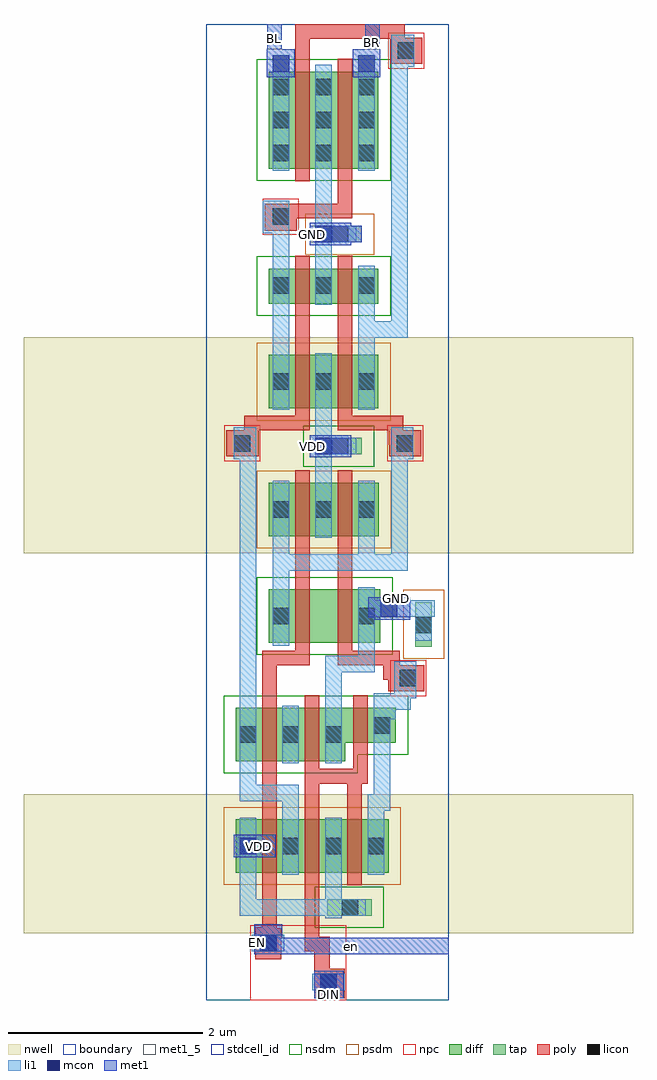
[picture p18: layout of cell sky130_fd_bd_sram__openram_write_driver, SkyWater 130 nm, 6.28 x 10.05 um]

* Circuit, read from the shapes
.subckt sky130_fd_bd_sram__openram_write_driver BL BR DIN EN GND VDD
XM1 n1 EN n2 GND sky130_fd_pr__nfet_01v8 w=0.55 l=0.15
XM2 n3 EN n4 GND sky130_fd_pr__nfet_01v8 w=0.55 l=0.15
XM3 GND n2 n5 GND sky130_fd_pr__nfet_01v8 w=0.36 l=0.15
XM4 GND n6 BL GND sky130_fd_pr__nfet_01v8 w=1 l=0.15
XM5 GND DIN n1 GND sky130_fd_pr__nfet_01v8 w=0.55 l=0.15
XM6 GND n7 n3 GND sky130_fd_pr__nfet_01v8 w=0.55 l=0.15
XM7 n6 n4 GND GND sky130_fd_pr__nfet_01v8 w=0.36 l=0.15
XM8 BR n5 GND GND sky130_fd_pr__nfet_01v8 w=1 l=0.15
XM9 n7 DIN GND GND sky130_fd_pr__nfet_01v8 w=0.36 l=0.15
XM10 n2 EN VDD VDD sky130_fd_pr__pfet_01v8 w=0.55 l=0.15
XM11 VDD EN n4 VDD sky130_fd_pr__pfet_01v8 w=0.55 l=0.15
XM12 VDD n2 n5 VDD sky130_fd_pr__pfet_01v8 w=0.55 l=0.15
XM13 VDD DIN n2 VDD sky130_fd_pr__pfet_01v8 w=0.55 l=0.15
XM14 n4 n7 VDD VDD sky130_fd_pr__pfet_01v8 w=0.55 l=0.15
XM15 n6 n4 VDD VDD sky130_fd_pr__pfet_01v8 w=0.55 l=0.15
XM16 n7 DIN VDD VDD sky130_fd_pr__pfet_01v8 w=0.55 l=0.15
.ends

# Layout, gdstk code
import gdstk
lib = gdstk.Library(unit=1e-6, precision=1e-09)
def R(c, l, rs):  # rectangles x0, y0, x1, y1
    for r in rs: c.add(gdstk.rectangle(r[:2], r[2:], *l))
def A(c, l, x, y, w, h, nx, ny, dx, dy):  # array of equal rectangles
    R(c, l, [(x+i*dx, y+j*dy, x+i*dx+w, y+j*dy+h) for i in range(nx) for j in range(ny)])
nwell = (64, 20)
diff = (65, 20)
tap = (65, 44)
poly = (66, 20)
licon = (66, 44)
li1 = (67, 20)
mcon = (67, 44)
met1_5 = (68, 5)
met1 = (68, 20)
stdcell_id = (81, 4)
nsdm = (93, 44)
psdm = (94, 20)
npc = (95, 20)
boundary = (235, 4)

sky130_fd_bd_sram__openr = lib.new_cell('sky130_fd_bd_sram__openram_write_driver')
R(sky130_fd_bd_sram__openr, nwell, [(-1.88,0.69,4.4,2.12), (-1.88,4.6,4.4,6.83)])
R(sky130_fd_bd_sram__openr, diff, [(0.305,1.31,1.88,1.86), (0.305,2.46,1.435,2.65), (0.305,2.65,1.955,3.01), (0.645,3.68,1.795,4.23), (0.645,4.78,1.78,5.33), (0.645,6.095,1.775,6.645), (0.645,7.175,1.775,7.535), (0.645,8.565,1.775,9.565)])
R(sky130_fd_bd_sram__openr, tap, [(1.245,0.87,1.705,1.04), (2.155,3.64,2.325,4.1), (1.125,5.62,1.605,5.79), (1.145,7.805,1.605,7.975)])
R(sky130_fd_bd_sram__openr, poly, [(1.115,0.02,1.425,0.32), (1.115,0.32,1.275,0.5), (0.505,0.42,0.775,0.74), (1.015,0.5,1.275,0.65), (1.015,0.65,1.165,2.23), (0.505,0.74,0.725,0.75), (0.575,0.75,0.725,3.45), (1.455,1.18,1.605,2.23), (1.015,2.23,1.665,2.38), (1.015,2.38,1.165,3.14), (1.515,2.38,1.665,3.14), (1.875,3.18,2.245,3.3), (1.825,3.3,2.245,3.45), (0.575,3.45,1.065,3.6), (1.355,3.45,1.995,3.6), (0.915,3.6,1.065,5.46), (1.355,3.6,1.505,5.46), (0.205,5.6,0.54,5.87), (1.885,5.6,2.215,5.72), (1.88,5.72,2.215,5.87), (0.39,5.87,1.065,6.02), (1.355,5.87,2.03,6.02), (0.915,6.02,1.065,7.665), (1.355,6.02,1.505,7.665), (0.605,7.925,0.935,8.055), (0.605,8.055,1.505,8.205), (1.355,8.205,1.505,9.695), (0.915,8.435,1.065,9.905), (1.895,9.645,2.225,9.905), (0.915,9.905,2.225,9.915), (0.915,9.915,2.045,10.055)])
A(sky130_fd_bd_sram__openr, licon, 0.345, 1.5, 0.17, 0.17, 4, 1, 0.44, 0)
A(sky130_fd_bd_sram__openr, licon, 0.345, 2.65, 0.17, 0.17, 3, 1, 0.44, 0)
A(sky130_fd_bd_sram__openr, licon, 0.685, 4.97, 0.17, 0.17, 3, 2, 0.44, 1.315)
A(sky130_fd_bd_sram__openr, licon, 0.685, 7.275, 0.17, 0.17, 3, 2, 0.44, 1.365)
A(sky130_fd_bd_sram__openr, licon, 0.685, 8.98, 0.17, 0.17, 3, 2, 0.44, 0.34)
R(sky130_fd_bd_sram__openr, licon, [(1.175,0.1,1.345,0.27), (0.555,0.5,0.725,0.67), (1.395,0.87,1.565,1.04), (1.725,2.745,1.895,2.915), (1.995,3.23,2.165,3.4), (2.155,3.78,2.325,3.95), (0.685,3.87,0.855,4.04), (1.565,3.87,1.735,4.04), (1.295,5.62,1.465,5.79), (0.285,5.65,0.455,5.82), (1.965,5.65,2.135,5.82), (1.295,7.805,1.465,7.975), (0.685,7.985,0.855,8.155), (1.975,9.695,2.145,9.865)])
R(sky130_fd_bd_sram__openr, li1, [(1.095,0.1,1.425,0.27), (0.47,0.5,0.805,0.67), (1.225,0.84,1.395,0.87), (0.345,0.87,1.645,1.04), (0.345,1.04,0.515,1.88), (1.225,1.04,1.395,1.88), (0.785,1.29,0.955,2.05), (1.665,1.29,1.835,1.95), (1.665,1.95,1.895,2.12), (0.345,2.05,0.955,2.22), (1.725,2.12,1.895,2.89), (0.345,2.22,0.515,5.57), (0.785,2.44,0.955,3.03), (1.225,2.44,1.395,3.4), (1.725,2.89,1.955,2.99), (1.725,2.99,2.105,3.11), (1.725,3.11,2.165,3.16), (1.935,3.16,2.165,3.49), (1.225,3.375,1.735,3.545), (1.565,3.4,1.735,3.95), (0.685,3.65,0.855,4.42), (2.155,3.7,2.325,3.95), (1.565,3.95,2.355,4.12), (1.565,4.12,1.735,4.25), (0.685,4.42,2.075,4.59), (0.685,4.59,0.855,5.35), (1.565,4.59,1.735,5.35), (1.905,4.59,2.075,5.57), (1.125,4.76,1.295,5.62), (0.285,5.57,0.515,5.9), (1.905,5.57,2.135,5.9), (1.125,5.62,1.545,5.79), (1.125,5.79,1.295,6.665), (0.685,6.08,0.855,7.9), (1.565,6.08,1.735,6.825), (1.565,6.825,2.075,6.995), (1.565,6.995,1.735,7.565), (1.905,6.995,2.075,9.615), (1.125,7.165,1.295,7.805), (1.125,7.805,1.545,7.975), (0.585,7.9,0.855,8.235), (1.125,7.975,1.295,9.635), (0.685,8.545,0.855,9.735), (1.565,8.545,1.735,9.735), (1.905,9.615,2.145,9.945)])
R(sky130_fd_bd_sram__openr, mcon, [(1.175,0.1,1.345,0.27), (0.555,0.5,0.725,0.67), (0.345,1.5,0.515,1.67), (1.8,3.95,1.97,4.12), (1.125,5.62,1.295,5.79), (1.125,7.805,1.295,7.975), (0.685,9.565,0.855,9.735), (1.565,9.565,1.735,9.735)])
R(sky130_fd_bd_sram__openr, met1_5, [(1.115,0.02,1.415,0.3), (0.495,0.47,2.5,0.64), (0.285,1.47,0.715,1.7), (1.67,3.945,2.1,4.15), (1.065,5.59,1.495,5.82), (1.065,7.805,1.605,7.975), (0.63,9.795,0.78,10.055), (1.64,9.795,1.79,10.055)])
R(sky130_fd_bd_sram__openr, met1, [(1.115,0.02,1.415,0.3), (1.115,0.02,1.415,0.3), (0.495,0.47,2.5,0.64), (0.495,0.47,2.5,0.64), (0.495,0.64,0.785,0.78), (0.285,1.47,0.715,1.7), (0.285,1.47,0.715,1.7), (1.735,3.92,2.1,3.945), (1.67,3.945,2.1,4.15), (1.67,3.945,2.1,4.15), (1.065,5.59,1.495,5.82), (1.065,5.59,1.495,5.82), (1.065,7.775,1.495,7.805), (1.065,7.805,1.605,7.975), (1.065,7.805,1.605,7.975), (1.065,7.975,1.495,8.005), (0.625,9.505,0.91,9.795), (1.51,9.505,1.795,9.795), (0.63,9.795,0.78,10.055), (0.63,9.795,0.78,10.055), (1.64,9.795,1.79,10.055), (1.64,9.795,1.79,10.055)])
R(sky130_fd_bd_sram__openr, stdcell_id, [(0,0,2.5,10.055)])
R(sky130_fd_bd_sram__openr, nsdm, [(1.12,0.745,1.83,1.165), (0.18,2.335,1.56,2.525), (0.18,2.525,2.08,3.135), (0.52,3.555,1.92,4.355), (1,5.495,1.73,5.915), (0.52,7.05,1.9,7.66), (0.52,8.44,1.9,9.69)])
R(sky130_fd_bd_sram__openr, psdm, [(0.18,1.185,2.005,1.985), (2.03,3.515,2.45,4.225), (0.52,4.655,1.905,5.455), (0.52,5.97,1.9,6.77), (1.02,7.68,1.73,8.1)])
R(sky130_fd_bd_sram__openr, npc, [(0.455,0,1.445,0.77), (1.895,3.13,2.265,3.5), (0.185,5.55,0.555,5.92), (1.865,5.55,2.235,5.92), (0.585,7.885,0.955,8.255), (1.875,9.595,2.245,9.965)])
R(sky130_fd_bd_sram__openr, boundary, [(0,0,2.5,10.055)])
sky130_fd_bd_sram__openr.add(gdstk.Label('DIN', (1.265,0.06), layer=68, texttype=16))
sky130_fd_bd_sram__openr.add(gdstk.Label('VDD', (0.54,1.585), layer=68, texttype=16))
sky130_fd_bd_sram__openr.add(gdstk.Label('BL', (0.7,9.905), layer=68, texttype=16))
sky130_fd_bd_sram__openr.add(gdstk.Label('BR', (1.7,9.865), layer=68, texttype=16))
sky130_fd_bd_sram__openr.add(gdstk.Label('EN', (0.53,0.59), layer=68, texttype=16))
sky130_fd_bd_sram__openr.add(gdstk.Label('GND', (1.965,4.135), layer=68, texttype=16))
sky130_fd_bd_sram__openr.add(gdstk.Label('GND', (1.1,7.885), layer=68, texttype=16))
sky130_fd_bd_sram__openr.add(gdstk.Label('VDD', (1.1,5.7), layer=68, texttype=16))
sky130_fd_bd_sram__openr.add(gdstk.Label('din', (1.265,0.16), layer=68, texttype=5))
sky130_fd_bd_sram__openr.add(gdstk.Label('bl', (0.705,9.925), layer=68, texttype=5))
sky130_fd_bd_sram__openr.add(gdstk.Label('br', (1.715,9.925), layer=68, texttype=5))
sky130_fd_bd_sram__openr.add(gdstk.Label('en', (1.498,0.555), layer=68, texttype=5))
sky130_fd_bd_sram__openr.add(gdstk.Label('vdd', (0.5,1.585), layer=68, texttype=5))
sky130_fd_bd_sram__openr.add(gdstk.Label('vdd', (1.28,5.705), layer=68, texttype=5))
sky130_fd_bd_sram__openr.add(gdstk.Label('gnd', (1.885,4.048), layer=68, texttype=5))
sky130_fd_bd_sram__openr.add(gdstk.Label('gnd', (1.335,7.89), layer=68, texttype=5))

lib.write_gds('sky130_fd_bd_sram__openram_write_driver.gds')
